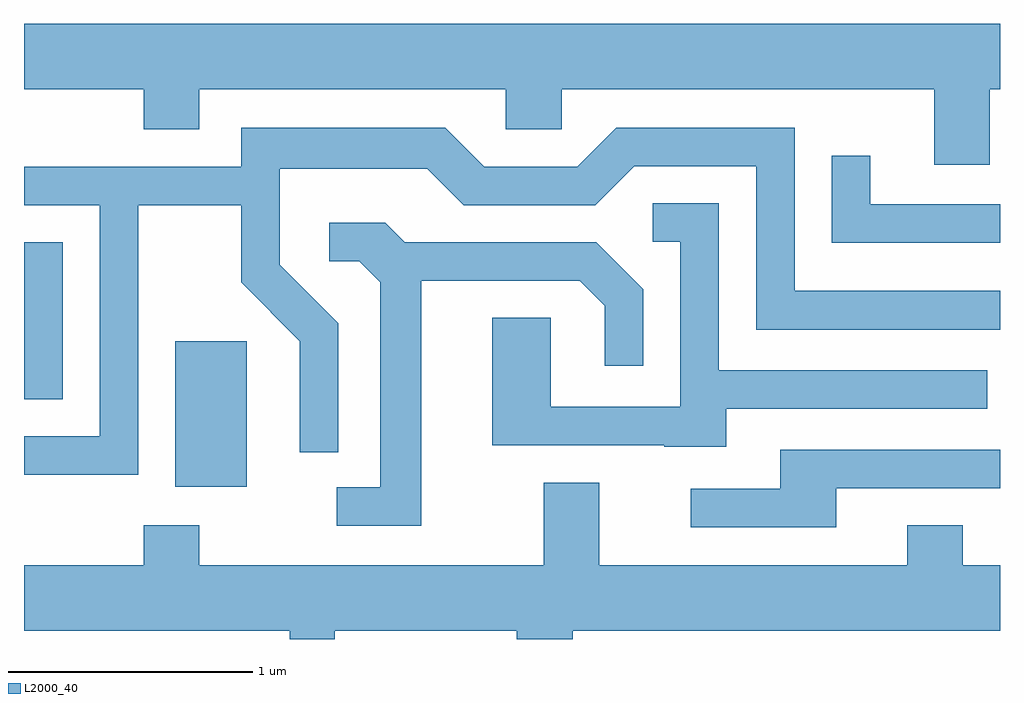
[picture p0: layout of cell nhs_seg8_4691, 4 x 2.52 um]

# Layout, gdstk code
import gdstk
lib = gdstk.Library(unit=1e-6, precision=1e-09)
def R(c, l, rs):  # rectangles x0, y0, x1, y1
    for r in rs: c.add(gdstk.rectangle(r[:2], r[2:], *l))
def P(c, l, *ps):  # polygons
    for p in ps: c.add(gdstk.Polygon(p, *l))
L2000_40 = (2000, 40)

nhs_seg8_4691 = lib.new_cell('nhs_seg8_4691')
R(nhs_seg8_4691, L2000_40, [(326.231,1876.966,326.524,1877.564), (325.611,1877.326,325.769,1877.969)])
P(nhs_seg8_4691, L2000_40, [(329.569,1878.596),(329.611,1878.596),(329.611,1878.864),(325.611,1878.864),(325.611,1878.596),(326.101,1878.596),(326.101,1878.431),(326.329,1878.431),(326.329,1878.596),(327.586,1878.596),(327.586,1878.431),(327.814,1878.431),(327.814,1878.596),(329.341,1878.596),(329.341,1878.286),(329.569,1878.286)],
  [(326.079,1878.121),(326.501,1878.121),(326.501,1877.804),(326.741,1877.564),(326.741,1877.108),(326.899,1877.108),(326.899,1877.637),(326.659,1877.877),(326.659,1878.271),(327.264,1878.271),(327.414,1878.121),(327.952,1878.121),(328.112,1878.281),(328.611,1878.281),(328.611,1877.611),(329.611,1877.611),(329.611,1877.769),(328.769,1877.769),(328.769,1878.439),(328.039,1878.439),(327.879,1878.279),(327.497,1878.279),(327.337,1878.439),(326.501,1878.439),(326.501,1878.279),(325.611,1878.279),(325.611,1878.121),(325.921,1878.121),(325.921,1877.174),(325.611,1877.174),(325.611,1877.016),(326.079,1877.016)],
  [(329.611,1878.124),(329.079,1878.124),(329.079,1878.323),(328.921,1878.323),(328.921,1877.966),(329.611,1877.966)],
  [(328.489,1877.286),(329.558,1877.286),(329.558,1877.444),(328.459,1877.444),(328.459,1878.129),(328.188,1878.129),(328.188,1877.971),(328.301,1877.971),(328.301,1877.294),(327.769,1877.294),(327.769,1877.659),(327.531,1877.659),(327.531,1877.136),(328.235,1877.136),(328.235,1877.131),(328.489,1877.131)],
  [(327.239,1877.811),(327.889,1877.811),(327.991,1877.709),(327.991,1877.463),(328.149,1877.463),(328.149,1877.777),(327.957,1877.969),(327.172,1877.969),(327.092,1878.049),(326.863,1878.049),(326.863,1877.891),(326.984,1877.891),(327.071,1877.804),(327.071,1876.964),(326.893,1876.964),(326.893,1876.806),(327.239,1876.806)],
  [(328.939,1876.961),(329.611,1876.961),(329.611,1877.119),(328.711,1877.119),(328.711,1876.959),(328.343,1876.959),(328.343,1876.801),(328.939,1876.801)],
  [(326.884,1876.376),(327.631,1876.376),(327.631,1876.342),(327.859,1876.342),(327.859,1876.376),(329.611,1876.376),(329.611,1876.644),(329.459,1876.644),(329.459,1876.809),(329.231,1876.809),(329.231,1876.644),(327.969,1876.644),(327.969,1876.984),(327.741,1876.984),(327.741,1876.644),(326.329,1876.644),(326.329,1876.809),(326.101,1876.809),(326.101,1876.644),(325.611,1876.644),(325.611,1876.376),(326.701,1876.376),(326.701,1876.342),(326.884,1876.342)])

lib.write_gds('nhs_seg8_4691.gds')
